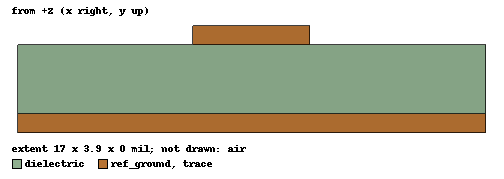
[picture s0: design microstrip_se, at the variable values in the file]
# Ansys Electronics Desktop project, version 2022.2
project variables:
  $trace_width = 4.25mil
  $trace_thickness = 0.7mil
  $trace_xpos = $trace_width/(-2)
  $dielectric_width = $trace_width*4
  $dielectric_thickness = -2.5mil
  $dielectric_xpos = $dielectric_width/(-2)
  $ref_thickness = -0.7mil
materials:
  vacuum: permittivity=1
  copper: permeability=0.999991 conductivity=58000000
  FR4_epoxy: permittivity=4.4 dielectric_loss_tangent=0.02
  air: permittivity=1.0006 permeability=1.0000004

design microstrip_se (2D Extractor, Open, model units mil)
options: LumpedLength=1meter RiseTime=1ns DistribLengthUnits=meter Calculate_Lossy_Dielectrics
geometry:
  trace [copper] = rectangle(corner=($trace_xpos, 0mil, 0mil), x_size=$trace_width, y_size=$trace_thickness)
  dielectric [FR4_epoxy] = rectangle(corner=($dielectric_xpos, 0mil, 0mil), x_size=$dielectric_width, y_size=$dielectric_thickness)
  ref_ground [copper] = rectangle(corner=($dielectric_xpos, $dielectric_thickness, 0mil), x_size=$dielectric_width, y_size=$ref_thickness)
  ref_ground_1 = ref_ground.copy()
  trace_1 = trace.copy()
  dielectric.subtract(ref_ground_1, trace_1)
  air [air] = rectangle(corner=($dielectric_xpos, 0mil, 0mil), x_size=$dielectric_width, y_size=$dielectric_thickness*(-2))
  ref_ground1 = rectangle(corner=($dielectric_xpos, $dielectric_thickness, 0mil), x_size=$dielectric_width, y_size=$ref_thickness)
  ref_ground_2 = ref_ground1.copy()
  trace1 = rectangle(corner=($trace_xpos, 0mil, 0mil), x_size=$trace_width, y_size=$trace_thickness)
  trace_2 = trace1.copy()
  air.subtract(ref_ground_2, trace_2)
  [trace1, ref_ground1].delete()
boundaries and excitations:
  trace: SignalLine Objects=trace SolveOption=SolveInside Thickness=-1000mm
  ref_ground: ReferenceGround Objects=ref_ground SolveOption=SolveInside Thickness=-1000mm
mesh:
  initial mesh: MeshMethod=AnsoftTAU
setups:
  Setup_1GHz: 2DMatrix AdaptiveFreq=1GHz SaveFields CGDataBlock{MaxPass=10 MinPass=1 MinConvPass=1 PerError=1 PerRefine=30 Included PerErrorParamConv=1} RLDataBlock{MaxPass=10 MinPass=1 MinConvPass=1 PerError=1 PerRefine=30 Included PerErrorParamConv=1}
    sweep Sweep1: 0Hz to 0Hz, 1 points; 1Hz to 1GHz, log, 10 per decade; 1GHz to 10GHz, log, 3 per decade; Type=Discrete
  Setup_10GHz: 2DMatrix AdaptiveFreq=10GHz SaveFields CGDataBlock{MaxPass=10 MinPass=1 MinConvPass=1 PerError=1 PerRefine=30 Included PerErrorParamConv=1} RLDataBlock{MaxPass=10 MinPass=1 MinConvPass=1 PerError=1 PerRefine=30 Included PerErrorParamConv=1}
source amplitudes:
  trace: CG Fields 1V 0deg
  trace: RL Fields 1A 0deg
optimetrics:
  dielectric_thickness_1GHz: Parametric Sim._Setups=[Setup_10GHz, Setup_1GHz]
    sweep $dielectric_thickness: LIN -4mil -2mil 1mil
    calculate mag(Z0(trace,trace)) on Setup_1GHz : Sweep1 at Freq 1GHz
  dielectric_thickness_10GHz: Parametric Sim._Setups=[Setup_10GHz, Setup_1GHz]
    sweep $dielectric_thickness: LIN -4mil -2mil 1mil
    calculate mag(Z0(trace,trace)) on Setup_10GHz : LastAdaptive at Freq 10GHz
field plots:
  Mag_H1: H over trace.face(at (0, 0.35, 0)) dielectric.face(at (0, -1.25, 0)) ref_ground.face(at (0, -2.85, 0)) on Setup_1GHz : LastAdaptive at Freq=1GHz Phase=0deg
  VectorE1, Mag_E1: E over trace, dielectric, ref_ground, air on Setup_1GHz : LastAdaptive at Freq=1GHz Phase=0deg
  VectorH1: H over trace, dielectric, ref_ground, air on Setup_1GHz : LastAdaptive at Freq=1GHz Phase=0deg
  Mag_B1: B over air, trace, dielectric, ref_ground on Setup_1GHz : LastAdaptive at Freq=1GHz Phase=0deg
  Jrl1: J over air, trace, dielectric, ref_ground on Setup_1GHz : LastAdaptive at Freq=1GHz Phase=0deg
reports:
  Characteristic Impedance Plot 1: mag(Z0(trace,trace)) vs Freq on Setup_1GHz : Sweep1; markers MX1 at x=1e+09
  EpsEff Plot 1: EpsEffModal(Mode1) vs Freq on Setup_1GHz : Sweep1; markers MX1 at x=1e+09
  Attenuation: -AttenModal(Mode1) vs Freq on Setup_1GHz : Sweep1
